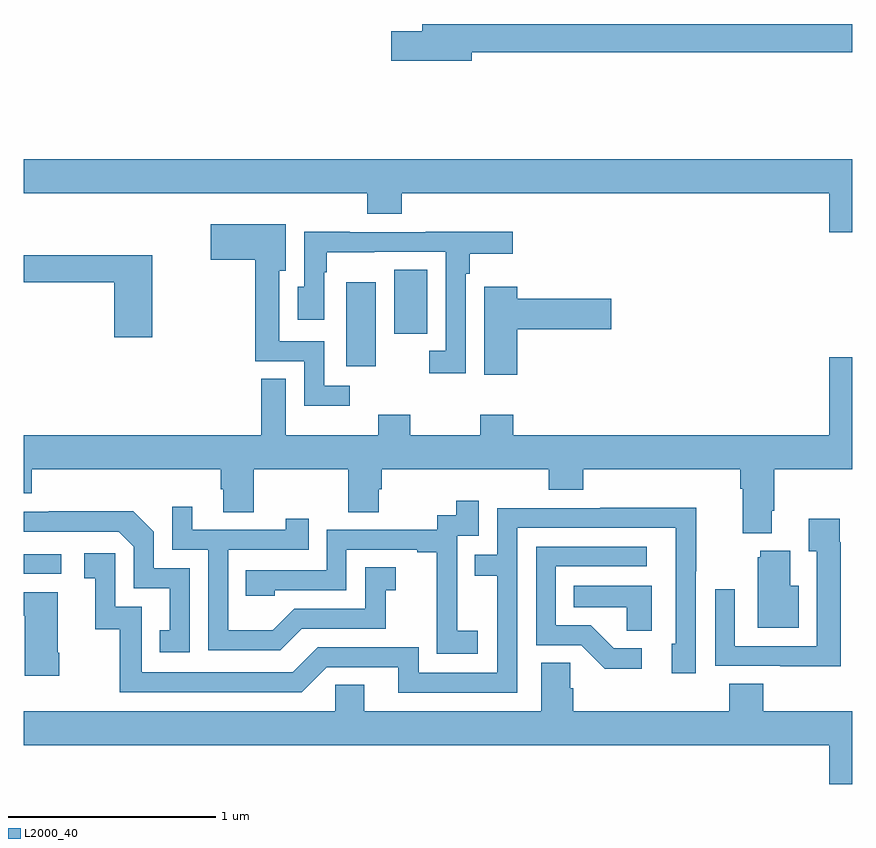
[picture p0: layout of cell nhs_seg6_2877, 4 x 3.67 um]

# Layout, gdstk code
import gdstk
lib = gdstk.Library(unit=1e-6, precision=1e-09)
def R(c, l, rs):  # rectangles x0, y0, x1, y1
    for r in rs: c.add(gdstk.rectangle(r[:2], r[2:], *l))
def P(c, l, *ps):  # polygons
    for p in ps: c.add(gdstk.Polygon(p, *l))
L2000_40 = (2000, 40)

nhs_seg6_2877 = lib.new_cell('nhs_seg6_2877')
R(nhs_seg6_2877, L2000_40, [(281,934.842,281.182,934.938), (282.557,935.844,282.7,936.25), (282.788,936,282.949,936.311)])
P(nhs_seg6_2877, L2000_40, [(283.162,937.36),(285,937.36),(285,937.496),(282.923,937.496),(282.923,937.46),(282.774,937.46),(282.774,937.318),(283.162,937.318)],
  [(285,936.844),(281,936.844),(281,936.68),(282.659,936.68),(282.659,936.581),(282.824,936.581),(282.824,936.68),(284.888,936.68),(284.888,936.492),(285,936.492)],
  [(282.574,935.751),(282.45,935.751),(282.45,935.964),(282.235,935.964),(282.235,936.305),(282.265,936.305),(282.265,936.529),(281.904,936.529),(281.904,936.359),(282.117,936.359),(282.117,935.868),(282.354,935.868),(282.354,935.654),(282.574,935.654)],
  [(283.134,936.29),(283.154,936.29),(283.154,936.386),(283.36,936.386),(283.36,936.494),(282.941,936.494),(282.941,936.492),(282.575,936.492),(282.575,936.494),(282.354,936.494),(282.354,936.228),(282.323,936.228),(282.323,936.069),(282.45,936.069),(282.45,936.299),(282.463,936.299),(282.463,936.395),(282.692,936.395),(282.692,936.396),(283.038,936.396),(283.038,935.919),(282.957,935.919),(282.957,935.811),(283.134,935.811)],
  [(281.621,936.379),(281,936.379),(281,936.25),(281.438,936.25),(281.438,935.985),(281.621,935.985)],
  [(283.382,936.023),(283.837,936.023),(283.837,936.17),(283.382,936.17),(283.382,936.229),(283.223,936.229),(283.223,935.802),(283.382,935.802)],
  [(282.265,935.783),(282.147,935.783),(282.147,935.512),(281,935.512),(281,935.231),(281.039,935.231),(281.039,935.348),(281.951,935.348),(281.951,935.25),(281.963,935.25),(281.963,935.14),(282.111,935.14),(282.111,935.348),(282.568,935.348),(282.568,935.14),(282.715,935.14),(282.715,935.25),(282.728,935.25),(282.728,935.348),(283.535,935.348),(283.535,935.249),(283.7,935.249),(283.7,935.348),(284.459,935.348),(284.459,935.252),(284.471,935.252),(284.471,935.039),(284.611,935.039),(284.611,935.146),(284.624,935.146),(284.624,935.348),(285,935.348),(285,935.887),(284.888,935.887),(284.888,935.512),(283.364,935.512),(283.364,935.611),(283.204,935.611),(283.204,935.512),(282.867,935.512),(282.867,935.611),(282.712,935.611),(282.712,935.512),(282.265,935.512)],
  [(283.192,934.567),(283.094,934.567),(283.094,934.796),(283.092,934.796),(283.092,935.025),(283.197,935.025),(283.197,935.194),(283.089,935.194),(283.089,935.124),(282.996,935.124),(282.996,935.055),(282.462,935.055),(282.462,934.86),(282.073,934.86),(282.073,934.737),(282.213,934.737),(282.213,934.764),(282.558,934.764),(282.558,934.959),(282.899,934.959),(282.899,934.947),(282.995,934.947),(282.995,934.663),(282.994,934.663),(282.994,934.457),(283.192,934.457)],
  [(282.343,934.578),(282.747,934.578),(282.747,934.763),(282.796,934.763),(282.796,934.873),(282.648,934.873),(282.648,934.674),(282.306,934.674),(282.202,934.57),(281.988,934.57),(281.988,934.959),(282.377,934.959),(282.377,935.107),(282.266,935.107),(282.266,935.055),(281.815,935.055),(281.815,935.167),(281.718,935.167),(281.718,934.959),(281.892,934.959),(281.892,934.473),(282.238,934.473)],
  [(283.383,935.064),(284.148,935.064),(284.148,934.506),(284.129,934.506),(284.129,934.362),(284.244,934.362),(284.244,934.855),(284.247,934.855),(284.247,935.162),(283.783,935.162),(283.783,935.16),(283.287,935.16),(283.287,934.935),(283.177,934.935),(283.177,934.834),(283.287,934.834),(283.287,934.365),(282.906,934.365),(282.906,934.488),(282.42,934.488),(282.3,934.368),(281.571,934.368),(281.571,934.683),(281.442,934.683),(281.442,934.942),(281.292,934.942),(281.292,934.821),(281.345,934.821),(281.345,934.575),(281.463,934.575),(281.463,934.272),(282.342,934.272),(282.462,934.392),(282.809,934.392),(282.809,934.269),(283.383,934.269)],
  [(281.802,934.869),(281.628,934.869),(281.628,935.046),(281.53,935.144),(281.122,935.144),(281.122,935.142),(281,935.142),(281,935.046),(281.46,935.046),(281.532,934.974),(281.532,934.773),(281.705,934.773),(281.705,934.569),(281.656,934.569),(281.656,934.464),(281.802,934.464)],
  [(284.945,934.994),(284.938,934.994),(284.938,935.107),(284.789,935.107),(284.789,934.951),(284.829,934.951),(284.829,934.494),(284.433,934.494),(284.433,934.768),(284.337,934.768),(284.337,934.398),(284.653,934.398),(284.653,934.397),(284.945,934.397)],
  [(283.984,934.482),(283.849,934.482),(283.738,934.593),(283.569,934.593),(283.569,934.878),(284.008,934.878),(284.008,934.974),(283.473,934.974),(283.473,934.497),(283.692,934.497),(283.805,934.385),(283.984,934.385)],
  [(284.74,934.786),(284.701,934.786),(284.701,934.954),(284.555,934.954),(284.555,934.923),(284.543,934.923),(284.543,934.583),(284.74,934.583)],
  [(284.032,934.786),(283.654,934.786),(283.654,934.682),(283.911,934.682),(283.911,934.567),(284.032,934.567)],
  [(281.172,934.462),(281.164,934.462),(281.164,934.753),(281,934.753),(281,934.639),(281.006,934.639),(281.006,934.35),(281.172,934.35)],
  [(285,934.18),(284.57,934.18),(284.57,934.313),(284.405,934.313),(284.405,934.18),(283.652,934.18),(283.652,934.289),(283.638,934.289),(283.638,934.412),(283.499,934.412),(283.499,934.18),(282.643,934.18),(282.643,934.307),(282.504,934.307),(282.504,934.18),(281,934.18),(281,934.016),(284.888,934.016),(284.888,933.828),(285,933.828)])

lib.write_gds('nhs_seg6_2877.gds')
